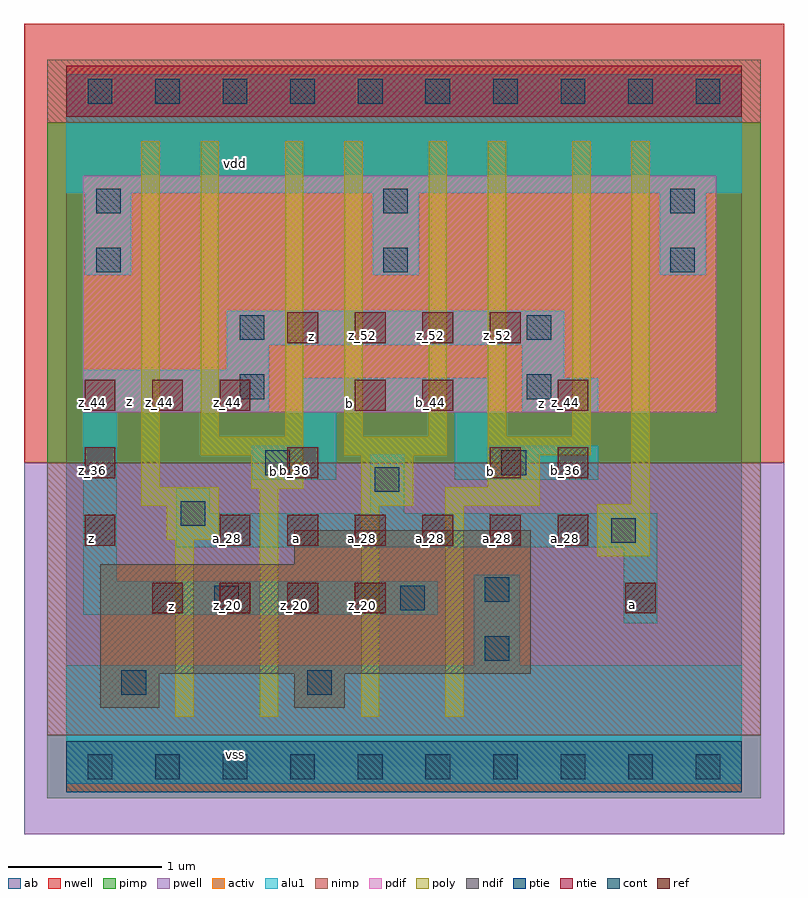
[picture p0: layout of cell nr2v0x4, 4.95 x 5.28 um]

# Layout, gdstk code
import gdstk
lib = gdstk.Library(unit=1e-6, precision=2.5e-09)
def R(c, l, rs):  # rectangles x0, y0, x1, y1
    for r in rs: c.add(gdstk.rectangle(r[:2], r[2:], *l))
def A(c, l, x, y, w, h, nx, ny, dx, dy):  # array of equal rectangles
    R(c, l, [(x+i*dx, y+j*dy, x+i*dx+w, y+j*dy+h) for i in range(nx) for j in range(ny)])
ndif = (3, 0)
pdif = (4, 0)
ntie = (5, 0)
ptie = (6, 0)
ref = (24, 0)
cont = (25, 0)
pwell = (41, 0)
nwell = (42, 0)
activ = (43, 0)
pimp = (44, 0)
nimp = (45, 0)
poly = (46, 0)
alu1 = (49, 0)
ab = (63, 0)

nr2v0x4 = lib.new_cell('nr2v0x4')
R(nr2v0x4, ndif, [(0.22,0.385,0.605,0.605), (1.485,0.385,1.815,0.605), (0.22,0.605,3.025,1.32), (1.485,1.32,3.025,1.54)])
R(nr2v0x4, pdif, [(0.11,2.31,4.235,3.85)])
R(nr2v0x4, ntie, [(0,4.235,4.4,4.565)])
R(nr2v0x4, ptie, [(0,-0.165,4.4,0.165)])
A(nr2v0x4, ref, 0.56, 1, 0.2, 0.2, 4, 1, 0.44, 0)
A(nr2v0x4, ref, 1, 1.44, 0.2, 0.2, 6, 1, 0.44, 0)
A(nr2v0x4, ref, 0.12, 1.88, 0.2, 0.2, 3, 1, 1.32, 0)
A(nr2v0x4, ref, 0.12, 2.32, 0.2, 0.2, 3, 1, 0.44, 0)
A(nr2v0x4, ref, 1.44, 2.76, 0.2, 0.2, 4, 1, 0.44, 0)
R(nr2v0x4, ref, [(3.64,1,3.84,1.2), (0.12,1.44,0.32,1.64), (3.2,1.88,3.4,2.08), (1.88,2.32,2.08,2.52), (2.32,2.32,2.52,2.52), (3.2,2.32,3.4,2.52)])
A(nr2v0x4, cont, 0.14, -0.08, 0.16, 0.16, 10, 2, 0.44, 4.4)
A(nr2v0x4, cont, 0.195, 3.22, 0.16, 0.16, 3, 2, 1.87, 0.385)
R(nr2v0x4, cont, [(0.36,0.47,0.52,0.63), (1.57,0.47,1.73,0.63), (2.725,0.69,2.885,0.85), (0.965,1.02,1.125,1.18), (2.175,1.02,2.335,1.18), (2.725,1.075,2.885,1.235), (3.55,1.46,3.71,1.62), (0.745,1.57,0.905,1.73), (2.01,1.79,2.17,1.95), (1.295,1.9,1.455,2.06), (2.835,1.9,2.995,2.06), (1.13,2.395,1.29,2.555), (3,2.395,3.16,2.555), (1.13,2.78,1.29,2.94), (3,2.78,3.16,2.94)])
R(nr2v0x4, pwell, [(-0.275,-0.44,4.675,1.98)])
R(nr2v0x4, nwell, [(-0.275,1.98,4.675,4.84)])
R(nr2v0x4, activ, [(0,-0.165,4.4,0.165), (0.22,0.385,0.605,0.605), (1.485,0.385,1.815,0.605), (0.22,0.605,3.025,1.32), (1.485,1.32,3.025,1.54), (0.11,2.31,4.235,3.85), (0,4.235,4.4,4.565)])
R(nr2v0x4, pimp, [(-0.125,-0.205,4.525,0.205), (-0.125,1.98,4.525,4.195)])
R(nr2v0x4, nimp, [(-0.125,0.205,4.525,1.98), (-0.125,4.195,4.525,4.605)])
A(nr2v0x4, poly, 0.875, 2.03, 0.67, 0.12, 3, 1, 0.935, 0)
R(nr2v0x4, poly, [(0.71,0.325,0.83,1.48), (1.26,0.325,1.38,1.81), (1.92,0.325,2.04,1.7), (2.47,0.325,2.59,1.7), (3.46,1.37,3.8,1.71), (0.655,1.48,0.995,1.7), (0.49,1.7,0.995,1.82), (1.92,1.7,2.26,2.03), (2.47,1.7,3.085,1.82), (3.68,1.71,3.8,4.075), (1.205,1.81,1.545,2.03), (0.49,1.82,0.61,4.075), (2.745,1.82,3.085,2.03), (0.875,2.15,0.995,4.075), (1.425,2.15,1.545,4.075), (1.81,2.15,1.93,4.075), (2.36,2.15,2.48,4.075), (2.745,2.15,2.865,4.075), (3.295,2.15,3.415,4.075)])
A(nr2v0x4, alu1, 0.125, 3.205, 0.3, 0.535, 3, 1, 1.87, 0)
R(nr2v0x4, alu1, [(0,-0.11,4.4,0.66), (2.655,0.66,2.955,1.25), (3.63,0.935,3.85,1.43), (0.11,0.99,2.42,1.21), (0.11,1.21,0.33,2.31), (0.715,1.43,3.85,1.65), (0.715,1.65,0.935,1.815), (1.98,1.65,2.2,2.035), (1.21,1.87,1.76,2.09), (2.53,1.87,3.465,2.09), (1.54,2.09,1.76,2.31), (2.53,2.09,2.75,2.31), (0.11,2.31,1.32,2.585), (1.54,2.31,2.75,2.53), (2.97,2.31,3.465,2.53), (2.97,2.53,3.245,2.75), (1.045,2.585,1.32,2.75), (1.045,2.75,3.245,2.97), (0,3.74,4.4,4.51)])
R(nr2v0x4, ab, [(0,0,4.4,4.4)])
nr2v0x4.add(gdstk.Label('vss', (1.1,0.0825), layer=49, texttype=0))
nr2v0x4.add(gdstk.Label('a', (3.685,1.0575), layer=49, texttype=0))
nr2v0x4.add(gdstk.Label('z', (0.6875,1.045), layer=49, texttype=0))
nr2v0x4.add(gdstk.Label('a', (1.4975,1.485), layer=49, texttype=0))
nr2v0x4.add(gdstk.Label('b', (2.7625,1.925), layer=49, texttype=0))
nr2v0x4.add(gdstk.Label('b', (1.3475,1.925), layer=49, texttype=0))
nr2v0x4.add(gdstk.Label('z', (0.165,1.485), layer=49, texttype=0))
nr2v0x4.add(gdstk.Label('z', (3.0925,2.365), layer=49, texttype=0))
nr2v0x4.add(gdstk.Label('b', (1.8425,2.365), layer=49, texttype=0))
nr2v0x4.add(gdstk.Label('z', (0.4125,2.3775), layer=49, texttype=0))
nr2v0x4.add(gdstk.Label('z', (1.595,2.805), layer=49, texttype=0))
nr2v0x4.add(gdstk.Label('vdd', (1.1,3.9325), layer=49, texttype=0))
nr2v0x4.add(gdstk.Label('z_20', (0.61,1.05), layer=24, texttype=0))
nr2v0x4.add(gdstk.Label('z_44', (0.61,2.37), layer=24, texttype=0))
nr2v0x4.add(gdstk.Label('z_20', (1.05,1.05), layer=24, texttype=0))
nr2v0x4.add(gdstk.Label('a_28', (1.05,1.49), layer=24, texttype=0))
nr2v0x4.add(gdstk.Label('z_44', (1.05,2.37), layer=24, texttype=0))
nr2v0x4.add(gdstk.Label('z_20', (1.49,1.05), layer=24, texttype=0))
nr2v0x4.add(gdstk.Label('a_28', (1.49,1.49), layer=24, texttype=0))
nr2v0x4.add(gdstk.Label('b_36', (1.49,1.93), layer=24, texttype=0))
nr2v0x4.add(gdstk.Label('z_52', (1.49,2.81), layer=24, texttype=0))
nr2v0x4.add(gdstk.Label('z_20', (1.93,1.05), layer=24, texttype=0))
nr2v0x4.add(gdstk.Label('a_28', (1.93,1.49), layer=24, texttype=0))
nr2v0x4.add(gdstk.Label('b_44', (1.93,2.37), layer=24, texttype=0))
nr2v0x4.add(gdstk.Label('z_52', (1.93,2.81), layer=24, texttype=0))
nr2v0x4.add(gdstk.Label('z_28', (0.17,1.49), layer=24, texttype=0))
nr2v0x4.add(gdstk.Label('z_36', (0.17,1.93), layer=24, texttype=0))
nr2v0x4.add(gdstk.Label('z_44', (0.17,2.37), layer=24, texttype=0))
nr2v0x4.add(gdstk.Label('a_28', (2.37,1.49), layer=24, texttype=0))
nr2v0x4.add(gdstk.Label('b_44', (2.37,2.37), layer=24, texttype=0))
nr2v0x4.add(gdstk.Label('z_52', (2.37,2.81), layer=24, texttype=0))
nr2v0x4.add(gdstk.Label('a_28', (2.81,1.49), layer=24, texttype=0))
nr2v0x4.add(gdstk.Label('b_36', (2.81,1.93), layer=24, texttype=0))
nr2v0x4.add(gdstk.Label('z_52', (2.81,2.81), layer=24, texttype=0))
nr2v0x4.add(gdstk.Label('a_28', (3.25,1.49), layer=24, texttype=0))
nr2v0x4.add(gdstk.Label('b_36', (3.25,1.93), layer=24, texttype=0))
nr2v0x4.add(gdstk.Label('z_44', (3.25,2.37), layer=24, texttype=0))
nr2v0x4.add(gdstk.Label('a_20', (3.69,1.05), layer=24, texttype=0))

lib.write_gds('nr2v0x4.gds')
